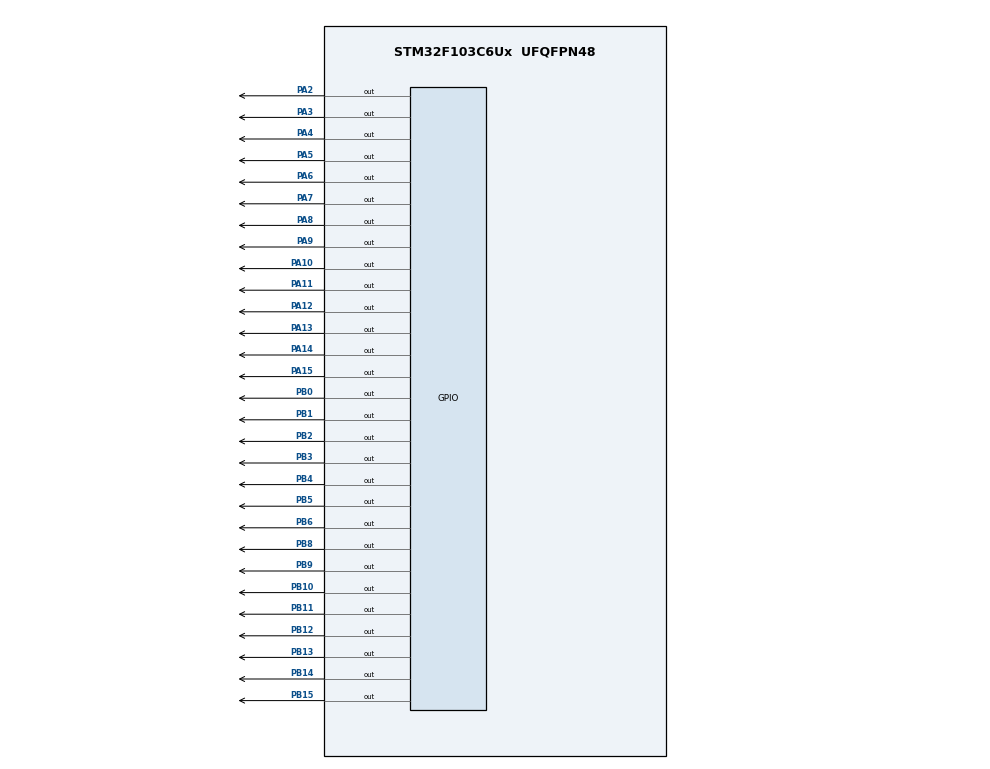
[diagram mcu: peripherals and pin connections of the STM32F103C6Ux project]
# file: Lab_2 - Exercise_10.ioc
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Mcu.Family=STM32F1
Mcu.Name=STM32F103C6Ux
Mcu.Package=UFQFPN48
NVIC.PriorityGroup=NVIC_PRIORITYGROUP_4
NVIC.TIM2_IRQn=true\:0\:0\:false\:false\:true\:true\:true
PA10.Signal=GPIO_Output
PA11.Signal=GPIO_Output
PA12.Signal=GPIO_Output
PA13.Signal=GPIO_Output
PA14.Signal=GPIO_Output
PA15.Signal=GPIO_Output
PA2.Signal=GPIO_Output
PA3.Signal=GPIO_Output
PA4.Signal=GPIO_Output
PA5.Signal=GPIO_Output
PA6.Signal=GPIO_Output
PA7.Signal=GPIO_Output
PA8.Signal=GPIO_Output
PA9.Signal=GPIO_Output
PB0.Signal=GPIO_Output
PB1.Signal=GPIO_Output
PB10.Signal=GPIO_Output
PB11.Signal=GPIO_Output
PB12.Signal=GPIO_Output
PB13.Signal=GPIO_Output
PB14.Signal=GPIO_Output
PB15.Signal=GPIO_Output
PB2.Signal=GPIO_Output
PB3.Signal=GPIO_Output
PB4.Signal=GPIO_Output
PB5.Signal=GPIO_Output
PB6.Signal=GPIO_Output
PB8.Signal=GPIO_Output
PB9.Signal=GPIO_Output
ProjectManager.HeapSize=0x200
ProjectManager.StackSize=0x400
ProjectManager.TargetToolchain=STM32CubeIDE
RCC.APB1Freq_Value=8000000
RCC.APB2Freq_Value=8000000
TIM2.Period=9
TIM2.Prescaler=7999
VP_SYS_VS_ND.Mode=No_Debug
VP_TIM2_VS_ClockSourceINT.Mode=Internal
board=custom

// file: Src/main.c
/* USER CODE BEGIN Header */
/**
  ******************************************************************************
  * @file           : main.c
  * @brief          : Main program body
  ******************************************************************************
  * @attention
  *
  * <h2><center>&copy; Copyright (c) 2025 STMicroelectronics.
  * All rights reserved.</center></h2>
  *
  * This software component is licensed by ST under BSD 3-Clause license,
  * the "License"; You may not use this file except in compliance with the
  * License. You may obtain a copy of the License at:
  *                        opensource.org/licenses/BSD-3-Clause
  *
  ******************************************************************************
  */
/* USER CODE END Header */
#include "main.h"

TIM_HandleTypeDef htim2;

void SystemClock_Config(void);
static void MX_GPIO_Init(void);
static void MX_TIM2_Init(void);

/* USER CODE BEGIN 0 */

uint8_t seg_digits[10] = {
	0b11000000, //0
	0b11111001, //1
	0b10100100, //2
	0b10110000, //3
	0b10011001, //4
	0b10010010, //5
	0b10000010, //6
	0b11111000, //7
	0b10000000, //8
	0b10010000  //9
};

void display7SEG(int firstPin, int num){
	if ( num > 9 ) return;
	uint8_t pattern = seg_digits[num];

	for ( int i = 0; i < 7; i++){
		HAL_GPIO_WritePin(GPIOB, firstPin << i, (pattern & (1 << i)) ? GPIO_PIN_SET : GPIO_PIN_RESET);
	}
}

const int MAX_LED = 4;
int index_led = 0;
int led_buffer[4] = {1,2,3,4};

void update7SEG(int index){

	HAL_GPIO_WritePin(GPIOA, GPIO_PIN_6, GPIO_PIN_SET);
	HAL_GPIO_WritePin(GPIOA, GPIO_PIN_7, GPIO_PIN_SET);
	HAL_GPIO_WritePin(GPIOA, GPIO_PIN_8, GPIO_PIN_SET);
	HAL_GPIO_WritePin(GPIOA, GPIO_PIN_9, GPIO_PIN_SET);

	switch (index){
	case 0:
		HAL_GPIO_WritePin(GPIOA, GPIO_PIN_6, GPIO_PIN_RESET);
		display7SEG(GPIO_PIN_0, led_buffer[0]);
		break;
	case 1:
		HAL_GPIO_WritePin(GPIOA, GPIO_PIN_7, GPIO_PIN_RESET);
		display7SEG(GPIO_PIN_0, led_buffer[1]);
		break;
	case 2:
		HAL_GPIO_WritePin(GPIOA, GPIO_PIN_8, GPIO_PIN_RESET);
		display7SEG(GPIO_PIN_0, led_buffer[2]);
		break;
	case 3:
		HAL_GPIO_WritePin(GPIOA, GPIO_PIN_9, GPIO_PIN_RESET);
		display7SEG(GPIO_PIN_0, led_buffer[3]);
		break;
	default:
		break;
	}
}

void updateClockBuffer(int hour, int minute){
	led_buffer[0] = hour/10;
	led_buffer[1] = hour%10;
	led_buffer[2] = minute/10;
	led_buffer[3] = minute%10;
}

const int MAX_LED_MATRIX = 8;
int index_led_matrix = 0;
uint8_t matrix_buffer[8] = {
    0b11111000,
    0b11111100,
    0b00110110,
    0b00110011,
    0b00110011,
    0b00110110,
    0b11111100,
    0b11111000
};

uint8_t temp_buffer[4];

void shiftLEDMatrixRight(){

	uint8_t last = matrix_buffer[7];

	for (int i = 7; i > 0; i--) {
		matrix_buffer[i] = matrix_buffer[i - 1];
	}
	matrix_buffer[0] = temp_buffer[3];

	for (int i = 3; i > 0; i--) {
		temp_buffer[i] = temp_buffer[i - 1];
	}
	temp_buffer[0] = last;
}

void shiftLEDMatrixLeft(){

	uint8_t first = matrix_buffer[0];

	for (int i = 0; i < 7; i++){
		matrix_buffer[i] = matrix_buffer[i + 1];
	}

	matrix_buffer[7] = temp_buffer[0];

	for (int i = 0; i < 3; i++){
		temp_buffer[i] = temp_buffer[i + 1];
	}
	temp_buffer[3] = first;
}

void updateLEDMatrix (int firstPin, int index){
	HAL_GPIO_WritePin(GPIOA, GPIO_PIN_2|GPIO_PIN_3|GPIO_PIN_10|
							 GPIO_PIN_11|GPIO_PIN_12|GPIO_PIN_13|
							 GPIO_PIN_14|GPIO_PIN_15, GPIO_PIN_SET);

	uint8_t pattern = matrix_buffer[index];

	for(int i = 0; i < 8; i++){
		HAL_GPIO_WritePin(GPIOB, firstPin << i, (pattern & (1 << i)) ? GPIO_PIN_RESET : GPIO_PIN_SET);
	}

	switch(index){
		case 0:
			HAL_GPIO_WritePin(GPIOA, GPIO_PIN_2, GPIO_PIN_RESET);
			break;
		case 1:
			HAL_GPIO_WritePin(GPIOA, GPIO_PIN_3, GPIO_PIN_RESET);
			break;
		case 2:
			HAL_GPIO_WritePin(GPIOA, GPIO_PIN_10, GPIO_PIN_RESET);
			break;
		case 3:
			HAL_GPIO_WritePin(GPIOA, GPIO_PIN_11, GPIO_PIN_RESET);
			break;
		case 4:
			HAL_GPIO_WritePin(GPIOA, GPIO_PIN_12, GPIO_PIN_RESET);
			break;
		case 5:
			HAL_GPIO_WritePin(GPIOA, GPIO_PIN_13, GPIO_PIN_RESET);
			break;
		case 6:
			HAL_GPIO_WritePin(GPIOA, GPIO_PIN_14, GPIO_PIN_RESET);
			break;
		case 7:
			HAL_GPIO_WritePin(GPIOA, GPIO_PIN_15, GPIO_PIN_RESET);
			break;
	default:
		break;
	}
}

int timer0_counter = 0;
int timer0_flag = 0;
int timer1_counter = 1;
int timer1_flag = 0;
int TIMER_CYCLE = 10;

void setTimer0(int duration){
	timer0_counter = duration/TIMER_CYCLE;
	timer0_flag = 0;
}

void timer0_run(){
	if(timer0_counter > 0){
		timer0_counter--;
		if(timer0_counter == 0) timer0_flag = 1;
	}
}

void setTimer1(int duration){
	timer1_counter = duration/TIMER_CYCLE;
	timer1_flag = 0;
}

void timer1_run(){
	if(timer1_counter > 0){
		timer1_counter--;
		if(timer1_counter == 0) timer1_flag = 1;
	}
}

/* USER CODE END 0 */

int main(void)
{

  /* MCU Configuration--------------------------------------------------------*/

  /* Reset of all peripherals, Initializes the Flash interface and the Systick. */
  HAL_Init();

  /* Configure the system clock */
  SystemClock_Config();

  /* Initialize all configured peripherals */
  MX_GPIO_Init();
  MX_TIM2_Init();
  /* USER CODE BEGIN 2 */
  HAL_TIM_Base_Start_IT(&htim2);
  /* USER CODE END 2 */

  /* Infinite loop */
  /* USER CODE BEGIN WHILE */
  setTimer0(1000);
  setTimer1(1000);
  int hour = 15, minute = 8, second = 50;
	while (1)
	{
    /* USER CODE END WHILE */

    /* USER CODE BEGIN 3 */
		if(timer0_flag == 1){
			second++;
			if (second >= 60){
				second = 0;
				minute++;
			}
			if (minute >= 60){
				minute = 0;
				hour++;
			}
			if (hour >= 24){
				hour = 0;
			}

			updateClockBuffer(hour, minute);
			HAL_GPIO_TogglePin(GPIOA, GPIO_PIN_4);
			HAL_GPIO_TogglePin(GPIOA, GPIO_PIN_5);

			update7SEG(index_led);
			index_led++;
			if (index_led >= MAX_LED) index_led = 0;

			shiftLEDMatrixLeft();

			setTimer0(1000);
		}

		if(timer1_flag == 1){
			updateLEDMatrix(GPIO_PIN_8, index_led_matrix);
			index_led_matrix++;
			if(index_led_matrix >= MAX_LED_MATRIX) index_led_matrix = 0;

			setTimer1(10);
		}
	}
  /* USER CODE END 3 */
}

void SystemClock_Config(void)
{
  RCC_OscInitTypeDef RCC_OscInitStruct = {0};
  RCC_ClkInitTypeDef RCC_ClkInitStruct = {0};

  /** Initializes the RCC Oscillators according to the specified parameters
  * in the RCC_OscInitTypeDef structure.
  */
  RCC_OscInitStruct.OscillatorType = RCC_OSCILLATORTYPE_HSI;
  RCC_OscInitStruct.HSIState = RCC_HSI_ON;
  RCC_OscInitStruct.HSICalibrationValue = RCC_HSICALIBRATION_DEFAULT;
  RCC_OscInitStruct.PLL.PLLState = RCC_PLL_NONE;
  if (HAL_RCC_OscConfig(&RCC_OscInitStruct) != HAL_OK)
  {
    Error_Handler();
  }
  /** Initializes the CPU, AHB and APB buses clocks
  */
  RCC_ClkInitStruct.ClockType = RCC_CLOCKTYPE_HCLK|RCC_CLOCKTYPE_SYSCLK
                              |RCC_CLOCKTYPE_PCLK1|RCC_CLOCKTYPE_PCLK2;
  RCC_ClkInitStruct.SYSCLKSource = RCC_SYSCLKSOURCE_HSI;
  RCC_ClkInitStruct.AHBCLKDivider = RCC_SYSCLK_DIV1;
  RCC_ClkInitStruct.APB1CLKDivider = RCC_HCLK_DIV1;
  RCC_ClkInitStruct.APB2CLKDivider = RCC_HCLK_DIV1;

  if (HAL_RCC_ClockConfig(&RCC_ClkInitStruct, FLASH_LATENCY_0) != HAL_OK)
  {
    Error_Handler();
  }
}

static void MX_TIM2_Init(void)
{

  TIM_ClockConfigTypeDef sClockSourceConfig = {0};
  TIM_MasterConfigTypeDef sMasterConfig = {0};

  htim2.Instance = TIM2;
  htim2.Init.Prescaler = 7999;
  htim2.Init.CounterMode = TIM_COUNTERMODE_UP;
  htim2.Init.Period = 9;
  htim2.Init.ClockDivision = TIM_CLOCKDIVISION_DIV1;
  htim2.Init.AutoReloadPreload = TIM_AUTORELOAD_PRELOAD_DISABLE;
  if (HAL_TIM_Base_Init(&htim2) != HAL_OK)
  {
    Error_Handler();
  }
  sClockSourceConfig.ClockSource = TIM_CLOCKSOURCE_INTERNAL;
  if (HAL_TIM_ConfigClockSource(&htim2, &sClockSourceConfig) != HAL_OK)
  {
    Error_Handler();
  }
  sMasterConfig.MasterOutputTrigger = TIM_TRGO_RESET;
  sMasterConfig.MasterSlaveMode = TIM_MASTERSLAVEMODE_DISABLE;
  if (HAL_TIMEx_MasterConfigSynchronization(&htim2, &sMasterConfig) != HAL_OK)
  {
    Error_Handler();
  }

}

static void MX_GPIO_Init(void)
{
  GPIO_InitTypeDef GPIO_InitStruct = {0};

  /* GPIO Ports Clock Enable */
  __HAL_RCC_GPIOA_CLK_ENABLE();
  __HAL_RCC_GPIOB_CLK_ENABLE();

  /*Configure GPIO pin Output Level */
  HAL_GPIO_WritePin(GPIOA, GPIO_PIN_2|GPIO_PIN_3|GPIO_PIN_4|GPIO_PIN_5
                          |GPIO_PIN_6|GPIO_PIN_7|GPIO_PIN_8|GPIO_PIN_9
                          |GPIO_PIN_10|GPIO_PIN_11|GPIO_PIN_12|GPIO_PIN_13
                          |GPIO_PIN_14|GPIO_PIN_15, GPIO_PIN_RESET);

  /*Configure GPIO pin Output Level */
  HAL_GPIO_WritePin(GPIOB, GPIO_PIN_0|GPIO_PIN_1|GPIO_PIN_2|GPIO_PIN_10
                          |GPIO_PIN_11|GPIO_PIN_12|GPIO_PIN_13|GPIO_PIN_14
                          |GPIO_PIN_15|GPIO_PIN_3|GPIO_PIN_4|GPIO_PIN_5
                          |GPIO_PIN_6|GPIO_PIN_8|GPIO_PIN_9, GPIO_PIN_RESET);

  /*Configure GPIO pins : PA2 PA3 PA4 PA5
                           PA6 PA7 PA8 PA9
                           PA10 PA11 PA12 PA13
                           PA14 PA15 */
  GPIO_InitStruct.Pin = GPIO_PIN_2|GPIO_PIN_3|GPIO_PIN_4|GPIO_PIN_5
                          |GPIO_PIN_6|GPIO_PIN_7|GPIO_PIN_8|GPIO_PIN_9
                          |GPIO_PIN_10|GPIO_PIN_11|GPIO_PIN_12|GPIO_PIN_13
                          |GPIO_PIN_14|GPIO_PIN_15;
  GPIO_InitStruct.Mode = GPIO_MODE_OUTPUT_PP;
  GPIO_InitStruct.Pull = GPIO_NOPULL;
  GPIO_InitStruct.Speed = GPIO_SPEED_FREQ_LOW;
  HAL_GPIO_Init(GPIOA, &GPIO_InitStruct);

  /*Configure GPIO pins : PB0 PB1 PB2 PB10
                           PB11 PB12 PB13 PB14
                           PB15 PB3 PB4 PB5
                           PB6 PB8 PB9 */
  GPIO_InitStruct.Pin = GPIO_PIN_0|GPIO_PIN_1|GPIO_PIN_2|GPIO_PIN_10
                          |GPIO_PIN_11|GPIO_PIN_12|GPIO_PIN_13|GPIO_PIN_14
                          |GPIO_PIN_15|GPIO_PIN_3|GPIO_PIN_4|GPIO_PIN_5
                          |GPIO_PIN_6|GPIO_PIN_8|GPIO_PIN_9;
  GPIO_InitStruct.Mode = GPIO_MODE_OUTPUT_PP;
  GPIO_InitStruct.Pull = GPIO_NOPULL;
  GPIO_InitStruct.Speed = GPIO_SPEED_FREQ_LOW;
  HAL_GPIO_Init(GPIOB, &GPIO_InitStruct);

}

/* USER CODE BEGIN 4 */
void HAL_TIM_PeriodElapsedCallback(TIM_HandleTypeDef *htim){
	if (htim->Instance == TIM2){
		timer0_run();
		timer1_run();
	}
}
/* USER CODE END 4 */

void Error_Handler(void)
{
  __disable_irq();
  while (1)
  {
  }
}

/************************ (C) COPYRIGHT STMicroelectronics *****END OF FILE****/
